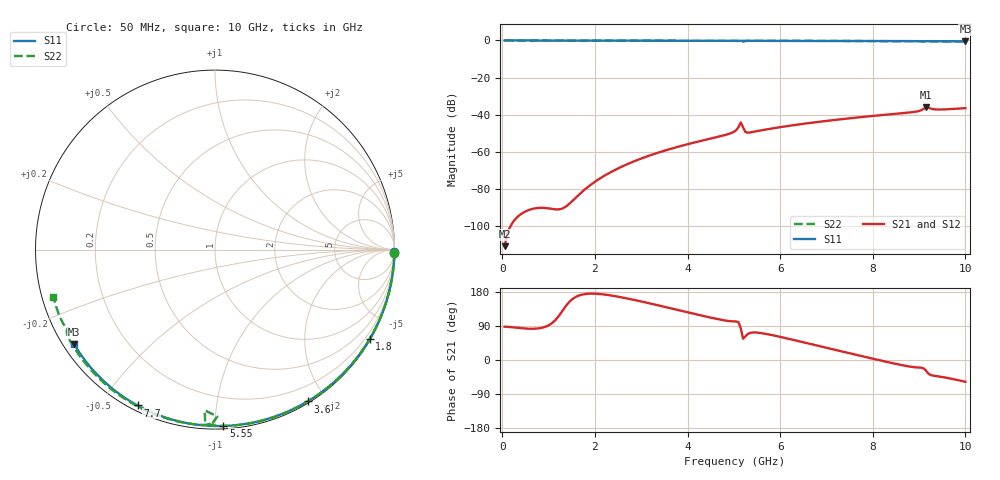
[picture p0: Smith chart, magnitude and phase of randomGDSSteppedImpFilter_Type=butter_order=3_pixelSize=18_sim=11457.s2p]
! freq	dB(S11)	phase(S11)	dB(S12)	phase(S12)
!  dB(S21)	phase(S21)	dB(S22)	phase(S22)
!S-par simulation data
#  GHz  S  DB  R 50
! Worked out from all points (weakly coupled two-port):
!   200 points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, 50 MHz to 10 GHz, reference 50 ohm
!   highest |S21| = -36.12 dB at 9.15 GHz (marker M1); lowest = -111.0 dB at 50 MHz (marker M2)
!   lowest |S11| = -0.5 dB at 10 GHz (marker M3), VSWR 35.37, Z = 1.55 - j15.3 ohm
!   |S11| at or under -10 dB: nowhere
!   |S22| runs from -0.9 to 0.0 dB; largest |S21 - S12| = 0
!   S11 on the Smith chart (normalised r, x): 50 MHz: open; 1.8 GHz: 0.03, -3.72; 3.6 GHz: 0.02, -1.78; 5.55 GHz: 0.02, -1.05; 7.7 GHz: 0.02, -0.62; 10 GHz: 0.03, -0.31
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0.05  -0.00 -0.9  -110.95 87.9  -110.95 87.9  -0.00 -1.0
0.85  -0.02 -14.3  -90.27 84.9  -90.27 84.9  -0.02 -16.2
1.75  -0.04 -29.3  -81.04 173.3  -81.04 173.3  -0.04 -33.1
1.8  -0.04 -30.1  -79.99 174.3  -79.99 174.3  -0.04 -34.0
2.1  -0.04 -35.0  -74.56 174.2  -74.56 174.2  -0.05 -39.5
2.45  -0.05 -40.6  -69.63 168.2  -69.63 168.2  -0.06 -45.8
2.9  -0.06 -47.8  -64.65 157.2  -64.65 157.2  -0.07 -53.8
3.4  -0.07 -55.6  -60.25 143.3  -60.25 143.3  -0.08 -62.6
3.6  -0.08 -58.6  -58.72 137.6  -58.72 137.6  -0.09 -66.0
4.85  -0.12 -77.3  -50.72 103.6  -50.72 103.6  -0.14 -87.3
5.05  -0.12 -80.2  -48.39 101.7  -48.39 101.7  -0.22 -91.6
5.15  -0.13 -81.6  -44.19 83.5  -44.19 83.5  -0.94 -93.7
5.2  -0.13 -82.3  -46.90 56.2  -46.90 56.2  -0.63 -89.2
5.25  -0.13 -83.1  -49.35 62.4  -49.35 62.4  -0.30 -90.8
5.55  -0.14 -87.3  -48.67 71.7  -48.67 71.7  -0.17 -97.1
6.7  -0.20 -103.1  -44.32 41.0  -44.32 41.0  -0.23 -115.1
7.7  -0.27 -116.4  -41.46 12.0  -41.46 12.0  -0.30 -130.0
8.35  -0.32 -124.8  -39.88 -6.3  -39.88 -6.3  -0.35 -139.6
8.95  -0.38 -132.6  -38.32 -19.7  -38.32 -19.7  -0.42 -148.8
9.15  -0.39 -135.1  -36.12 -28.1  -36.12 -28.1  -0.63 -151.9
9.4  -0.42 -138.3  -37.26 -42.9  -37.26 -42.9  -0.52 -154.5
10  -0.49 -146.0  -36.50 -57.4  -36.50 -57.4  -0.56 -163.7
